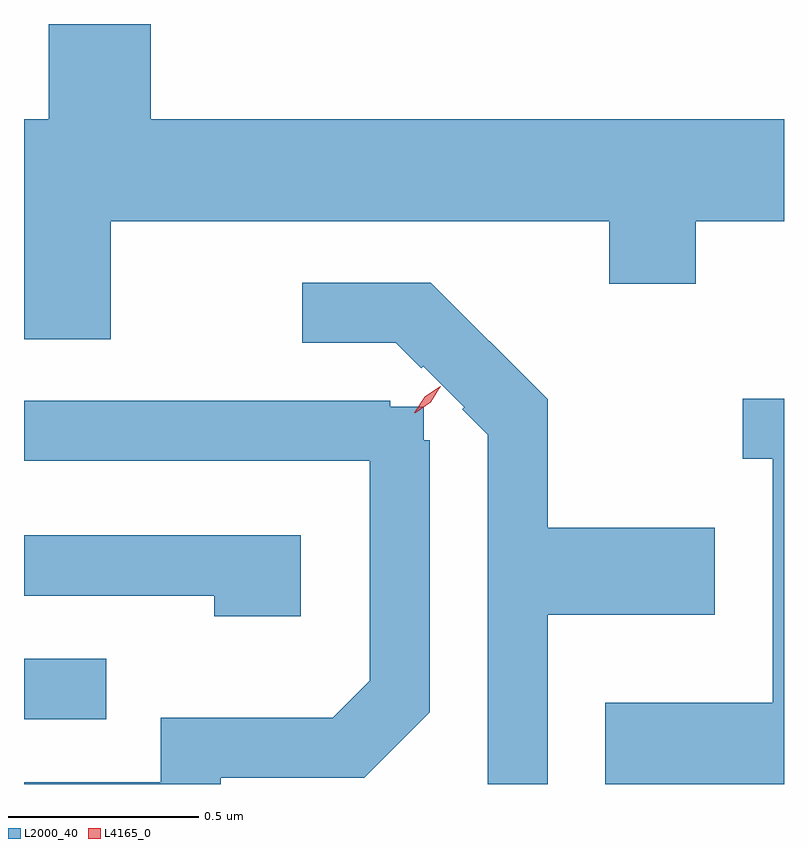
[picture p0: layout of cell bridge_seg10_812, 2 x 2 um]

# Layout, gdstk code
import gdstk
lib = gdstk.Library(unit=1e-6, precision=1e-09)
def R(c, l, rs):  # rectangles x0, y0, x1, y1
    for r in rs: c.add(gdstk.rectangle(r[:2], r[2:], *l))
def P(c, l, *ps):  # polygons
    for p in ps: c.add(gdstk.Polygon(p, *l))
L2000_40 = (2000, 40)
L4165_0 = (4165, 0)

bridge_seg10_812 = lib.new_cell('bridge_seg10_812')
R(bridge_seg10_812, L2000_40, [(594.631,2183.646,594.848,2183.804)])
P(bridge_seg10_812, L2000_40, [(594.859,2184.956),(596.171,2184.956),(596.171,2184.791),(596.399,2184.791),(596.399,2184.956),(596.631,2184.956),(596.631,2185.224),(594.964,2185.224),(594.964,2185.475),(594.696,2185.475),(594.696,2185.224),(594.631,2185.224),(594.631,2184.646),(594.859,2184.646)],
  [(596.009,2183.921),(596.449,2183.921),(596.449,2184.149),(596.009,2184.149),(596.009,2184.487),(595.702,2184.794),(595.363,2184.794),(595.363,2184.636),(595.609,2184.636),(595.676,2184.569),(595.681,2184.575),(595.79,2184.466),(595.784,2184.461),(595.851,2184.394),(595.851,2183.475),(596.009,2183.475)],
  [(596.631,2184.489),(596.523,2184.489),(596.523,2184.331),(596.601,2184.331),(596.601,2183.689),(596.161,2183.689),(596.161,2183.475),(596.631,2183.475)],
  [(595.149,2183.491),(595.527,2183.491),(595.699,2183.664),(595.699,2184.38),(595.683,2184.38),(595.683,2184.468),(595.595,2184.468),(595.595,2184.484),(594.631,2184.484),(594.631,2184.326),(595.541,2184.326),(595.541,2183.747),(595.444,2183.649),(594.991,2183.649),(594.991,2183.479),(594.631,2183.479),(594.631,2183.475),(595.149,2183.475)],
  [(595.359,2184.129),(594.631,2184.129),(594.631,2183.971),(595.131,2183.971),(595.131,2183.916),(595.359,2183.916)])
P(bridge_seg10_812, L4165_0, [(595.658,2184.452),(595.658,2184.452),(595.686,2184.494),(595.727,2184.522),(595.728,2184.522),(595.728,2184.522),(595.7,2184.48),(595.659,2184.452)],
  [(595.661,2184.452),(595.661,2184.453),(595.687,2184.494),(595.726,2184.521),(595.727,2184.521),(595.727,2184.52),(595.701,2184.48),(595.662,2184.452)])

lib.write_gds('bridge_seg10_812.gds')
